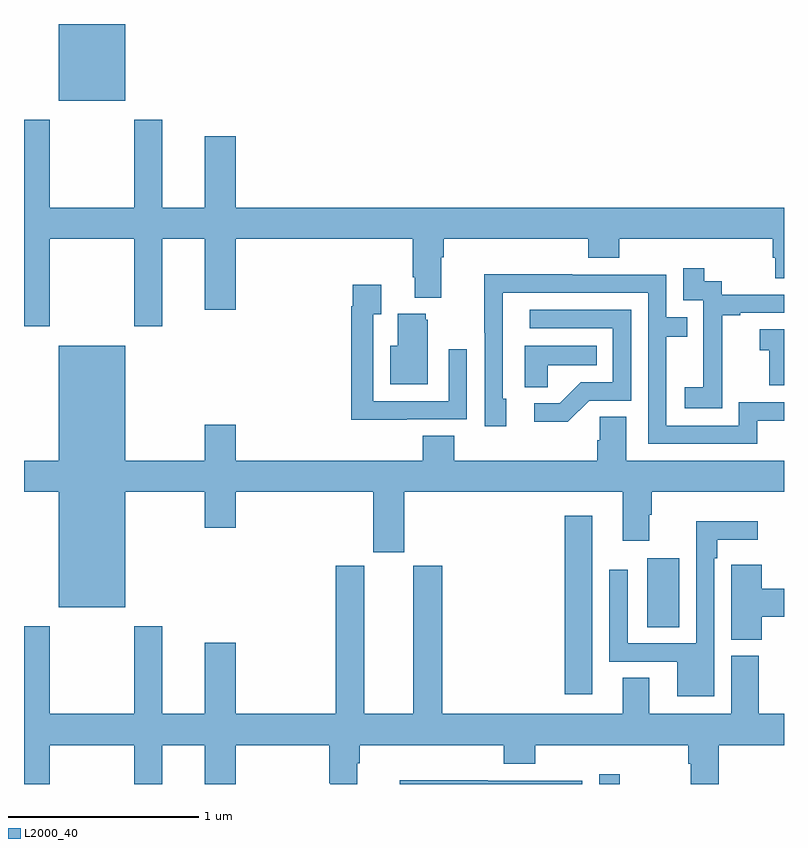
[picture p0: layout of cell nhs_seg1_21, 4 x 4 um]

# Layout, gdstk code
import gdstk
lib = gdstk.Library(unit=1e-6, precision=1e-09)
def R(c, l, rs):  # rectangles x0, y0, x1, y1
    for r in rs: c.add(gdstk.rectangle(r[:2], r[2:], *l))
def P(c, l, *ps):  # polygons
    for p in ps: c.add(gdstk.Polygon(p, *l))
L2000_40 = (2000, 40)

nhs_seg1_21 = lib.new_cell('nhs_seg1_21')
R(nhs_seg1_21, L2000_40, [(114.027,546.199,114.136,546.25), (113.846,546.672,113.992,547.612), (114.281,547.024,114.448,547.387), (111.182,549.794,111.532,550.199)])
P(nhs_seg1_21, L2000_40, [(111.135,549.068),(111.58,549.068),(111.58,548.607),(111.727,548.607),(111.727,549.068),(111.95,549.068),(111.95,548.694),(112.114,548.694),(112.114,549.068),(113.045,549.068),(113.045,548.866),(113.057,548.866),(113.057,548.759),(113.197,548.759),(113.197,548.972),(113.21,548.972),(113.21,549.068),(113.969,549.068),(113.969,548.969),(114.134,548.969),(114.134,549.068),(114.941,549.068),(114.941,548.97),(114.953,548.97),(114.953,548.86),(115,548.86),(115,549.232),(112.114,549.232),(112.114,549.607),(111.95,549.607),(111.95,549.232),(111.727,549.232),(111.727,549.694),(111.58,549.694),(111.58,549.232),(111.135,549.232),(111.135,549.694),(111,549.694),(111,548.607),(111.135,548.607)],
  [(114.675,548.383),(114.674,548.383),(114.674,548.667),(114.769,548.667),(114.769,548.679),(115,548.679),(115,548.775),(114.672,548.775),(114.672,548.844),(114.58,548.844),(114.58,548.914),(114.471,548.914),(114.471,548.745),(114.576,548.745),(114.576,548.516),(114.575,548.516),(114.575,548.287),(114.477,548.287),(114.477,548.177),(114.675,548.177)],
  [(114.859,548.112),(115,548.112),(115,548.208),(114.762,548.208),(114.762,548.085),(114.381,548.085),(114.381,548.554),(114.491,548.554),(114.491,548.655),(114.381,548.655),(114.381,548.88),(113.885,548.88),(113.885,548.882),(113.422,548.882),(113.422,548.575),(113.424,548.575),(113.424,548.082),(113.539,548.082),(113.539,548.226),(113.52,548.226),(113.52,548.784),(114.285,548.784),(114.285,547.989),(114.859,547.989)],
  [(113.015,548.118),(113.331,548.118),(113.331,548.488),(113.235,548.488),(113.235,548.214),(112.839,548.214),(112.839,548.671),(112.879,548.671),(112.879,548.827),(112.731,548.827),(112.731,548.714),(112.723,548.714),(112.723,548.117),(113.015,548.117)],
  [(113.976,548.217),(114.195,548.217),(114.195,548.694),(113.661,548.694),(113.661,548.598),(114.099,548.598),(114.099,548.313),(113.93,548.313),(113.819,548.202),(113.685,548.202),(113.685,548.105),(113.863,548.105)],
  [(113.125,548.643),(113.114,548.643),(113.114,548.674),(112.967,548.674),(112.967,548.506),(112.928,548.506),(112.928,548.303),(113.125,548.303)],
  [(115,548.593),(114.873,548.593),(114.873,548.483),(114.922,548.483),(114.922,548.298),(115,548.298)],
  [(113.757,548.402),(114.014,548.402),(114.014,548.506),(113.636,548.506),(113.636,548.287),(113.757,548.287)],
  [(111.532,547.736),(111.95,547.736),(111.95,547.548),(112.114,547.548),(112.114,547.736),(112.838,547.736),(112.838,547.419),(113.002,547.419),(113.002,547.736),(114.152,547.736),(114.152,547.479),(114.292,547.479),(114.292,547.616),(114.305,547.616),(114.305,547.736),(115,547.736),(115,547.9),(114.169,547.9),(114.169,548.132),(114.03,548.132),(114.03,548.009),(114.017,548.009),(114.017,547.9),(113.264,547.9),(113.264,548.033),(113.099,548.033),(113.099,547.9),(112.114,547.9),(112.114,548.089),(111.95,548.089),(111.95,547.9),(111.532,547.9),(111.532,548.506),(111.182,548.506),(111.182,547.9),(111,547.9),(111,547.736),(111.182,547.736),(111.182,547.13),(111.532,547.13)],
  [(114.633,547.388),(114.649,547.388),(114.649,547.484),(114.862,547.484),(114.862,547.582),(114.537,547.582),(114.537,546.939),(114.177,546.939),(114.177,547.327),(114.081,547.327),(114.081,546.843),(114.437,546.843),(114.437,546.662),(114.633,546.662)],
  [(114.884,547.079),(115,547.079),(115,547.226),(114.884,547.226),(114.884,547.354),(114.723,547.354),(114.723,547.241),(114.722,547.241),(114.722,546.958),(114.884,546.958)],
  [(111.135,546.404),(111.58,546.404),(111.58,546.199),(111.727,546.199),(111.727,546.404),(111.95,546.404),(111.95,546.199),(112.114,546.199),(112.114,546.404),(112.606,546.404),(112.606,546.202),(112.613,546.202),(112.613,546.199),(112.753,546.199),(112.753,546.308),(112.766,546.308),(112.766,546.404),(113.525,546.404),(113.525,546.305),(113.69,546.305),(113.69,546.404),(114.497,546.404),(114.497,546.306),(114.509,546.306),(114.509,546.199),(114.657,546.199),(114.657,546.404),(115,546.404),(115,546.568),(114.866,546.568),(114.866,546.873),(114.722,546.873),(114.722,546.568),(114.292,546.568),(114.292,546.758),(114.152,546.758),(114.152,546.568),(113.201,546.568),(113.201,547.347),(113.048,547.347),(113.048,546.568),(112.792,546.568),(112.792,547.347),(112.64,547.347),(112.64,546.568),(112.114,546.568),(112.114,546.943),(111.95,546.943),(111.95,546.568),(111.727,546.568),(111.727,547.03),(111.58,547.03),(111.58,546.568),(111.135,546.568),(111.135,547.03),(111,547.03),(111,546.199),(111.135,546.199)],
  [(113.937,546.216),(113.441,546.216),(113.441,546.218),(112.978,546.218),(112.978,546.199),(113.937,546.199)])

lib.write_gds('nhs_seg1_21.gds')
